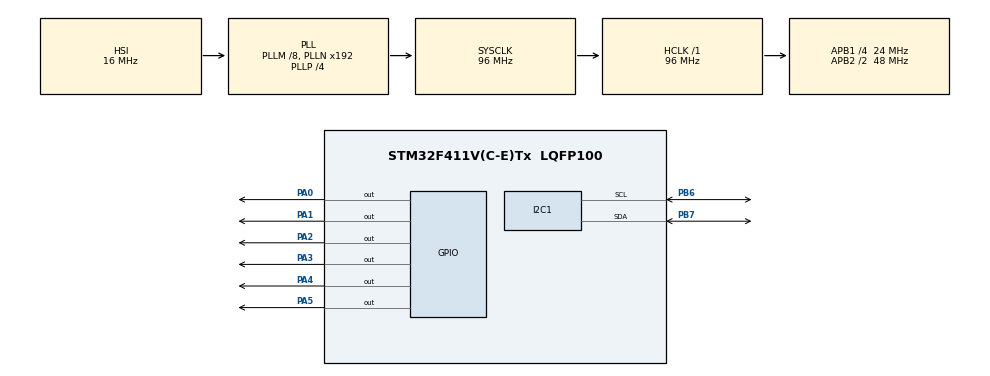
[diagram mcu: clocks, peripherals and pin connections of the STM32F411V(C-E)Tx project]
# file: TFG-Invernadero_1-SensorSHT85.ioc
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Mcu.Family=STM32F4
Mcu.Name=STM32F411V(C-E)Tx
Mcu.Package=LQFP100
NVIC.PriorityGroup=NVIC_PRIORITYGROUP_0
PA0-WKUP.GPIO_PuPd=GPIO_NOPULL
PA0-WKUP.Signal=GPIO_Output
PA1.GPIO_ModeDefaultOutputPP=GPIO_MODE_OUTPUT_PP
PA1.GPIO_PuPd=GPIO_NOPULL
PA1.PinState=GPIO_PIN_RESET
PA1.Signal=GPIO_Output
PA2.GPIO_ModeDefaultOutputPP=GPIO_MODE_OUTPUT_PP
PA2.GPIO_PuPd=GPIO_PULLUP
PA2.PinState=GPIO_PIN_SET
PA2.Signal=GPIO_Output
PA3.GPIO_ModeDefaultOutputPP=GPIO_MODE_OUTPUT_PP
PA3.GPIO_PuPd=GPIO_PULLUP
PA3.PinState=GPIO_PIN_SET
PA3.Signal=GPIO_Output
PA4.GPIO_PuPd=GPIO_PULLUP
PA4.PinState=GPIO_PIN_SET
PA4.Signal=GPIO_Output
PA5.GPIO_PuPd=GPIO_PULLUP
PA5.PinState=GPIO_PIN_SET
PA5.Signal=GPIO_Output
PB6.GPIO_Pu=GPIO_PULLUP
PB6.Mode=I2C
PB6.Signal=I2C1_SCL
PB7.GPIO_Pu=GPIO_PULLUP
PB7.Mode=I2C
PB7.Signal=I2C1_SDA
ProjectManager.HeapSize=0x200
ProjectManager.StackSize=0x400
ProjectManager.TargetToolchain=STM32CubeIDE
RCC.48MHZClocksFreq_Value=48000000
RCC.AHBFreq_Value=96000000
RCC.APB1CLKDivider=RCC_HCLK_DIV4
RCC.APB1Freq_Value=24000000
RCC.APB1TimFreq_Value=48000000
RCC.APB2CLKDivider=RCC_HCLK_DIV2
RCC.APB2Freq_Value=48000000
RCC.APB2TimFreq_Value=96000000
RCC.CortexFreq_Value=96000000
RCC.HCLKFreq_Value=96000000
RCC.HSE_VALUE=8000000
RCC.HSI_VALUE=16000000
RCC.LSE_VALUE=32768
RCC.PLLI2SM=5
RCC.PLLI2SN=200
RCC.PLLM=8
RCC.PLLP=RCC_PLLP_DIV4
RCC.PLLQ=8
RCC.SYSCLKFreq_VALUE=96000000
RCC.SYSCLKSource=RCC_SYSCLKSOURCE_PLLCLK
RCC.VCOOutputFreq_Value=384000000
board=STM32F411E-DISCO

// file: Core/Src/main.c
/* USER CODE BEGIN Header */
/**
  ******************************************************************************
  * @file           : main.c
  * @brief          : Main program body
  ******************************************************************************
  * @attention
  *
  * Copyright (c) 2025 STMicroelectronics.
  * All rights reserved.
  *
  * This software is licensed under terms that can be found in the LICENSE file
  * in the root directory of this software component.
  * If no LICENSE file comes with this software, it is provided AS-IS.
  *
  ******************************************************************************
  */
/* USER CODE END Header */
#include "main.h"

/* USER CODE BEGIN Includes */
#include <stdio.h>
#include <stdbool.h>
/* USER CODE END Includes */

/* USER CODE BEGIN PD */
// Dirección I2C del SHT85 (ver datasheet para confirmar)
#define SHT85_I2C_ADDR 0x44 << 1 // Cambia si usas otra configuración

// Comando para iniciar la medición
#define SHT85_CMD_MEASURE_HIGHREP 0x2400

// DISPLAY INICIO
#define RS_PIN  GPIO_PIN_0
#define E_PIN   GPIO_PIN_1
#define D4_PIN  GPIO_PIN_2
#define D5_PIN  GPIO_PIN_3
#define D6_PIN  GPIO_PIN_4
#define D7_PIN  GPIO_PIN_5
#define LCD_PORT GPIOA
// DISPLAY FINAL

/* USER CODE END PD */

I2C_HandleTypeDef hi2c1;

/* USER CODE BEGIN PV */

// Variables USUARIO INICIO. Para ajustar tiempos de muestreo de temperatura
uint16_t samplingPeriod = 20; // tiempo de muestreo de temperaturas (en ms)
uint16_t averagePeriod = 2; // tiempo deseado para calcular las temperaturas medias (en segundos)
bool alarmWithActualTemp = true; // TRUE: alarma se detecta mas rapido (con temp actual). FALSE: alarma se detecta mas lento (con temp media, se espera a leer varios datos)
// Variables USUARIO FIN

//Variables GLOBALES:
// SENSOR SHT85 TEMPERATURA INICIO
volatile float temperature = 0.0f;
float humidity = 0.0f;
volatile uint16_t temp_raw = 0, hum_raw = 0;
bool alarm = true; // Estado de la alarma (TRUE: apagada, FALSE: activa)
float temperature_max = 20.4;
// Variables para antirrebotes en control de alarma
uint32_t lastTimeAlarmUp = 0; // Tiempo desde que se incremento el counterTempAlarmUp
uint8_t counterTempAlarmUp = 0; // Contador de mediciones consecutivas cuando la temperatura se sale del rango
uint32_t lastTimeAlarmDown = 0; // Tiempo desde que se incremento el counterTempAlarmDown
uint8_t counterTempAlarmDown = 0; // Contador de mediciones consecutivas cuando la temperatura entra en rango de nuevo
uint8_t maxCounterTempAlarm = 5; // Máximo número de mediciones necesarias
//Variables para concurrencia entre lecturas sensor SHT85 y control de alarma
uint32_t lastTimeSHT = 0; // Tiempo de la última lectura del sensor
uint32_t lastTimeIncreasingLight = 0; // Tiempo desde que se incremento o decremento el duty en el led rojo
uint16_t duty = 1000; // Ciclo de trabajo del led rojo
bool increasingLight = true; // Control de dirección del ciclo de trabajo. TRUE incrementa luz. FALSE decrementa luz
// Calculo de temperaturas medias cada 1 segundo (5 muestras recogidas cada 200ms cada una)
volatile float totalTemperature = 0.0f;
float averageTemperature = 0.0f;
volatile uint8_t sampleCount = 0;
// SENSOR SHT85 TEMPERATURA FIN

// DISPLAY INICIO
// Variables para depuración en Live Expressions
uint8_t lastSentCommand = 0;  // Último comando enviado
uint8_t lastSentChar = 0;     // Último carácter enviado
uint8_t lastSent4Bits = 0;    // Últimos 4 bits enviados

// DISPLAY FINAL

/* USER CODE END PV */

void SystemClock_Config(void);
static void MX_GPIO_Init(void);
static void MX_I2C1_Init(void);
/* USER CODE BEGIN PFP */

// SENSOR SHT85 TEMPERATURA INICIO
void ReadSHT85(float *temperature, float *humidity);
bool setAlarm(float temp);
void calculatorAverageTemperature(float newTemperature);
// SENSOR SHT85 TEMPERATURA FIN

// DISPLAY INICIO
/*void LCD_PulseEnable(void) {
    HAL_GPIO_WritePin(LCD_PORT, E_PIN, GPIO_PIN_SET);
    HAL_Delay(1000);
    HAL_GPIO_WritePin(LCD_PORT, E_PIN, GPIO_PIN_RESET);
    HAL_Delay(1000);
}

void LCD_Send4Bits(uint8_t data) {
    lastSent4Bits = data; // Guardar valor para depuración
    HAL_GPIO_WritePin(LCD_PORT, D4_PIN, (data >> 0) & 0x01);
    HAL_GPIO_WritePin(LCD_PORT, D5_PIN, (data >> 1) & 0x01);
    HAL_GPIO_WritePin(LCD_PORT, D6_PIN, (data >> 2) & 0x01);
    HAL_GPIO_WritePin(LCD_PORT, D7_PIN, (data >> 3) & 0x01);
    LCD_PulseEnable();
}*/

void send_to_lcd(char data, int rs)
{
    HAL_GPIO_WritePin(LCD_PORT, RS_PIN, rs); // rs = 1 para datos, rs = 0 para comandos

    /* Escribir los datos en los pines respectivos */
    HAL_GPIO_WritePin(LCD_PORT, D4_PIN, (data >> 0) & 0x01);
	HAL_GPIO_WritePin(LCD_PORT, D5_PIN, (data >> 1) & 0x01);
	HAL_GPIO_WritePin(LCD_PORT, D6_PIN, (data >> 2) & 0x01);
	HAL_GPIO_WritePin(LCD_PORT, D7_PIN, (data >> 3) & 0x01);

    // Si el LCD no funciona, aumentar el retardo a 50, 80
	HAL_GPIO_WritePin(LCD_PORT, E_PIN, GPIO_PIN_SET);
	HAL_Delay(50);
	HAL_GPIO_WritePin(LCD_PORT, E_PIN, GPIO_PIN_RESET);
	HAL_Delay(50);

	lastSent4Bits = data; // Guardar valor para depuración
}

/*
void LCD_SendCommand(uint8_t cmd) {
    lastSentCommand = cmd; // Guardar último comando para depuración
    HAL_GPIO_WritePin(LCD_PORT, RS_PIN, GPIO_PIN_RESET); // RS = 0 (Comando)
    LCD_Send4Bits(cmd >> 4); // Parte alta
    LCD_Send4Bits(cmd);      // Parte baja
    HAL_Delay(20); // Esperar mínimo 39µs según datasheet
}
*/

void lcd_send_cmd(char cmd)
{
    char datatosend;

    /* Enviar primero el nibble superior */
    datatosend = ((cmd >> 4) & 0x0F);
    send_to_lcd(datatosend, 0); // RS debe estar en 0 al enviar un comando

    /* Enviar el nibble inferior */
    datatosend = (cmd & 0x0F);
    send_to_lcd(datatosend, 0);
}

void lcd_send_data(char data)
{
    char datatosend;

    /* Enviar el nibble superior */
    datatosend = ((data >> 4) & 0x0F);
    send_to_lcd(datatosend, 1); // rs = 1 para enviar datos

    /* Enviar el nibble inferior */
    datatosend = (data & 0x0F);
    send_to_lcd(datatosend, 1);
}

void lcd_clear(void)
{
    lcd_send_cmd(0x01);
    HAL_Delay(2);
}

void lcd_put_cur(int row, int col)
{
    switch (row)
    {
        case 0:
            col |= 0x80;
            break;
        case 1:
            col |= 0xC0;
            break;
    }

    lcd_send_cmd(col);
}

void lcd_init(void)
{
    // Inicialización en modo de 4 bits
    HAL_Delay(50);  // Esperar >40ms
    lcd_send_cmd(0x30);

    HAL_Delay(5);   // Esperar >4.1ms
    lcd_send_cmd(0x30);

    HAL_Delay(1);   // Esperar >100us
    lcd_send_cmd(0x30);

    HAL_Delay(10);
    lcd_send_cmd(0x20);  // Modo 4 bits
    HAL_Delay(10);

    // Inicialización de la pantalla
    lcd_send_cmd(0x28);  // Configuración de funciones: DL=0 (modo 4 bits), N=1 (pantalla de 2 líneas), F=0 (5x8 caracteres)
    HAL_Delay(1);

    lcd_send_cmd(0x08);  // Control de encendido/apagado de la pantalla: D=0, C=0, B=0 --> pantalla apagada
    HAL_Delay(1);

    lcd_send_cmd(0x01);  // Limpiar pantalla
    HAL_Delay(2);

    lcd_send_cmd(0x06);  // Modo de entrada: I/D=1 (incrementa cursor), S=0 (sin desplazamiento)
    HAL_Delay(2);

    lcd_send_cmd(0x0C);  // Control de encendido/apagado: D=1 (pantalla encendida), C=0, B=0 (sin cursor ni parpadeo)
}

void lcd_send_string(char *str)
{
    while (*str)
        lcd_send_data(*str++);
}

/*

void LCD_SendChar(char c) {
    lastSentChar = c; // Guardar el carácter enviado para depuración

    uint8_t highNibble = (c >> 4) & 0x0F;  // Extraer parte alta (4 bits)
    uint8_t lowNibble = c & 0x0F;         // Extraer parte baja (4 bits)

    HAL_GPIO_WritePin(LCD_PORT, RS_PIN, GPIO_PIN_SET); // RS = 1 (Dato)

    lastSent4Bits = highNibble; // Guardar parte alta para depuración
    HAL_Delay(1000); // Mantener el valor visible más tiempo
    LCD_Send4Bits(highNibble); // Enviar parte alta al LCD
    HAL_Delay(1000); // Mantener la pausa

    lastSent4Bits = lowNibble; // Guardar parte baja para depuración
    HAL_Delay(1000); // Mantener el valor visible más tiempo
    LCD_Send4Bits(lowNibble); // Enviar parte baja al LCD
    HAL_Delay(1000); // Mantener la pausa
}

void LCD_SendString(char *str) {
    while (*str) {
        LCD_SendChar(*str++);
    }
}

void LCD_Init(void) {
    HAL_Delay(50); // 🔴 Esperar más de 40 ms tras encendido (datasheet)

    // 🔵 Secuencia para forzar modo 8 bits
    LCD_Send4Bits(0x03);
    HAL_Delay(50);
    LCD_Send4Bits(0x03);
    HAL_Delay(10);
    LCD_Send4Bits(0x03);
    HAL_Delay(10);

    // 🔵 Cambiar a modo 4 bits
    LCD_Send4Bits(0x02);
    HAL_Delay(10);

    // 🔵 Configuración inicial
    LCD_SendCommand(0x28); // Modo 4 bits, 2 líneas, 5x8 caracteres
    HAL_Delay(10);
    LCD_SendCommand(0x0C); // Display ON, Cursor OFF
    HAL_Delay(10);
    LCD_SendCommand(0x01); // Limpiar pantalla
	HAL_Delay(20); // 🔴 Esperar 1.53 ms según datasheet
    LCD_SendCommand(0x06); // Incremento de cursor
    HAL_Delay(10);

    LCD_SendCommand(0x0E); // Display ON, Cursor ON (verifica si algo aparece)
    HAL_Delay(10);
}
 */

// DISPLAY FINAL

/* USER CODE END PFP */

/* USER CODE BEGIN 0 */

int row = 0;
int col = 0;

/* USER CODE END 0 */

int main(void)
{

  /* MCU Configuration--------------------------------------------------------*/

  /* Reset of all peripherals, Initializes the Flash interface and the Systick. */
  HAL_Init();

  /* Configure the system clock */
  SystemClock_Config();

  /* Initialize all configured peripherals */
  MX_GPIO_Init();
  MX_I2C1_Init();
  /* USER CODE BEGIN 2 */

  // SENSOR SHT85 TEMPERATURA INICIO
//  	HAL_GPIO_WritePin(GPIOA, GPIO_PIN_3, GPIO_PIN_SET); // Apagar ventilador
//  	HAL_GPIO_WritePin(GPIOA, GPIO_PIN_2, GPIO_PIN_SET); // Set Apaga el led verde del RGB
//
//  	// Inicia el PWM en el canal 2 (PA1 - LED Rojo)
//  	//HAL_TIM_PWM_Start(&htim2, TIM_CHANNEL_2);
//  	__HAL_TIM_SET_COMPARE(&htim2, TIM_CHANNEL_2, 1000); // Configura el ciclo de trabajo a 1000 (Rojo apagado)

  	lastTimeSHT = HAL_GetTick();
  	lastTimeIncreasingLight = HAL_GetTick();
  	//tiempo_inicio_led_rojo = HAL_GetTick();

  	// SENSOR SHT85 TEMPERATURA FIN

  	// DISPLAY INICIO

    //LCD_Init();
    //LCD_SendString("Hola, STM32!");

    lcd_init();
    lcd_put_cur(0, 0);
    lcd_send_string("HELLO ");
    lcd_send_string("WORLD ");
    lcd_send_string("FROM");

    lcd_put_cur(1, 0);
    lcd_send_string("CONTROLLERS TECH");
    HAL_Delay(3000);
    lcd_clear();

  	// DISPLAY FINAL

  /* USER CODE END 2 */

  /* Infinite loop */
  /* USER CODE BEGIN WHILE */
  while (1)
  {
	  // SENSOR SHT85 TEMPERATURA INICIO

	  		// Ajuste del valor de temperatura para encender el ventilador

	  		  //HAL_ADC_Start(&hadc1);

	  		  // Esperar a que la conversión finalice
//	  		  if (HAL_ADC_PollForConversion(&hadc1, HAL_MAX_DELAY) == HAL_OK) {
//	  			  // Leer el valor ADC convertido
//	  			  adcValue = HAL_ADC_GetValue(&hadc1);
//	  			  temperature_max = 15.0 + (adcValue/4095.0)*15.0; // Obtiene un valor entre 15 y 30 grados centigrados
//	  		  }
	  		  // Detener la conversión
//	  		  HAL_ADC_Stop(&hadc1);

	  		// Control de ventilador y leds

	  /*
	  		if (HAL_GetTick() - lastTimeSHT >= samplingPeriod) { // Leer los sensores cada 200 ms (periodo de muestreo)
	  			lastTimeSHT = HAL_GetTick(); // Se actualiza referencia
	  			ReadSHT85(&temperature, &humidity); // Leer sensores
	  			calculatorAverageTemperature(temperature); // Se calculan temperaturas medias
	  			float temperatureToCheck =
	  					alarmWithActualTemp ? temperature : averageTemperature;
	  			alarm = setAlarm(temperatureToCheck); // Verificar alarma. Si se quiere controlar la alarma con la temperatura media. Se activa más tarde
	  		}

	  		if (!alarm) { // La alarma se activa pq se supera temperatura maxima
	  					  // Incrementa gradualmente la intensidad del led rojo del RGB
	  			if (HAL_GetTick() - lastTimeIncreasingLight >= 20) {
	  				lastTimeIncreasingLight = HAL_GetTick();

	  				if (increasingLight) {
	  					duty -= 50; // Decrementar el ciclo de trabajo (lógica inversa)
	  					if (duty <= 0) {
	  						duty = 0;
	  						// Insertar bocina, aqui llega al pico maximo de luz
	  						increasingLight = false; // Cambiar dirección
	  					}
	  				} else {
	  					duty += 50; // Incrementar el ciclo de trabajo
	  					if (duty >= 1000) {
	  						duty = 1000;
	  						increasingLight = true; // Cambiar dirección
	  					}
	  				}
*/
	  				//__HAL_TIM_SET_COMPARE(&htim2, TIM_CHANNEL_2, duty); // Ajusta el ciclo de trabajo del led rojo
	  			//}
	  		//	HAL_GPIO_WritePin(GPIOD, GPIO_PIN_13, GPIO_PIN_SET); // Encender led
//	  			HAL_GPIO_WritePin(GPIOA, GPIO_PIN_3, GPIO_PIN_RESET); // Encender VENTILADOR
//	  			HAL_GPIO_WritePin(GPIOA, GPIO_PIN_2, GPIO_PIN_SET); // Verde apagado

/*	  		} else {
	  			HAL_GPIO_WritePin(GPIOD, GPIO_PIN_13, GPIO_PIN_RESET); // Apagar led
//	  			HAL_GPIO_WritePin(GPIOA, GPIO_PIN_3, GPIO_PIN_SET); // Apagar VENTILADOR
//	  			__HAL_TIM_SET_COMPARE(&htim2, TIM_CHANNEL_2, 0); // AMARILLO (ROJO + VERDE)
//	  			HAL_GPIO_WritePin(GPIOA, GPIO_PIN_2, GPIO_PIN_RESET); // AMARILLO (ROJO + VERDE)
	  		}
	  		// SENSOR SHT85 TEMPERATURA FIN
*/

	  		// DISPLAY INICIO

	  for (int i = 0; i < 128; i++)
	  {
	      lcd_put_cur(row, col);
	      lcd_send_data(i + 48);

	      col++;

	      if (col > 15) { row++; col = 0; }
	      if (row > 1) row = 0;

	      HAL_Delay(250);
	  }

	  		// DISPLAY FINAL

    /* USER CODE END WHILE */

  }
}

void SystemClock_Config(void)
{
  RCC_OscInitTypeDef RCC_OscInitStruct = {0};
  RCC_ClkInitTypeDef RCC_ClkInitStruct = {0};

  /** Configure the main internal regulator output voltage
  */
  __HAL_RCC_PWR_CLK_ENABLE();
  __HAL_PWR_VOLTAGESCALING_CONFIG(PWR_REGULATOR_VOLTAGE_SCALE1);

  /** Initializes the RCC Oscillators according to the specified parameters
  * in the RCC_OscInitTypeDef structure.
  */
  RCC_OscInitStruct.OscillatorType = RCC_OSCILLATORTYPE_HSI;
  RCC_OscInitStruct.HSIState = RCC_HSI_ON;
  RCC_OscInitStruct.HSICalibrationValue = RCC_HSICALIBRATION_DEFAULT;
  RCC_OscInitStruct.PLL.PLLState = RCC_PLL_ON;
  RCC_OscInitStruct.PLL.PLLSource = RCC_PLLSOURCE_HSI;
  RCC_OscInitStruct.PLL.PLLM = 8;
  RCC_OscInitStruct.PLL.PLLN = 192;
  RCC_OscInitStruct.PLL.PLLP = RCC_PLLP_DIV4;
  RCC_OscInitStruct.PLL.PLLQ = 8;
  if (HAL_RCC_OscConfig(&RCC_OscInitStruct) != HAL_OK)
  {
    Error_Handler();
  }

  /** Initializes the CPU, AHB and APB buses clocks
  */
  RCC_ClkInitStruct.ClockType = RCC_CLOCKTYPE_HCLK|RCC_CLOCKTYPE_SYSCLK
                              |RCC_CLOCKTYPE_PCLK1|RCC_CLOCKTYPE_PCLK2;
  RCC_ClkInitStruct.SYSCLKSource = RCC_SYSCLKSOURCE_PLLCLK;
  RCC_ClkInitStruct.AHBCLKDivider = RCC_SYSCLK_DIV1;
  RCC_ClkInitStruct.APB1CLKDivider = RCC_HCLK_DIV4;
  RCC_ClkInitStruct.APB2CLKDivider = RCC_HCLK_DIV2;

  if (HAL_RCC_ClockConfig(&RCC_ClkInitStruct, FLASH_LATENCY_3) != HAL_OK)
  {
    Error_Handler();
  }
}

static void MX_I2C1_Init(void)
{

  hi2c1.Instance = I2C1;
  hi2c1.Init.ClockSpeed = 100000;
  hi2c1.Init.DutyCycle = I2C_DUTYCYCLE_2;
  hi2c1.Init.OwnAddress1 = 0;
  hi2c1.Init.AddressingMode = I2C_ADDRESSINGMODE_7BIT;
  hi2c1.Init.DualAddressMode = I2C_DUALADDRESS_DISABLE;
  hi2c1.Init.OwnAddress2 = 0;
  hi2c1.Init.GeneralCallMode = I2C_GENERALCALL_DISABLE;
  hi2c1.Init.NoStretchMode = I2C_NOSTRETCH_DISABLE;
  if (HAL_I2C_Init(&hi2c1) != HAL_OK)
  {
    Error_Handler();
  }

}

static void MX_GPIO_Init(void)
{
  GPIO_InitTypeDef GPIO_InitStruct = {0};

  /* GPIO Ports Clock Enable */
  __HAL_RCC_GPIOA_CLK_ENABLE();
  __HAL_RCC_GPIOB_CLK_ENABLE();

  /*Configure GPIO pin Output Level */
  HAL_GPIO_WritePin(GPIOA, GPIO_PIN_0|GPIO_PIN_1, GPIO_PIN_RESET);

  /*Configure GPIO pin Output Level */
  HAL_GPIO_WritePin(GPIOA, GPIO_PIN_2|GPIO_PIN_3|GPIO_PIN_4|GPIO_PIN_5, GPIO_PIN_SET);

  /*Configure GPIO pins : PA0 PA1 */
  GPIO_InitStruct.Pin = GPIO_PIN_0|GPIO_PIN_1;
  GPIO_InitStruct.Mode = GPIO_MODE_OUTPUT_PP;
  GPIO_InitStruct.Pull = GPIO_NOPULL;
  GPIO_InitStruct.Speed = GPIO_SPEED_FREQ_LOW;
  HAL_GPIO_Init(GPIOA, &GPIO_InitStruct);

  /*Configure GPIO pins : PA2 PA3 PA4 PA5 */
  GPIO_InitStruct.Pin = GPIO_PIN_2|GPIO_PIN_3|GPIO_PIN_4|GPIO_PIN_5;
  GPIO_InitStruct.Mode = GPIO_MODE_OUTPUT_PP;
  GPIO_InitStruct.Pull = GPIO_PULLUP;
  GPIO_InitStruct.Speed = GPIO_SPEED_FREQ_LOW;
  HAL_GPIO_Init(GPIOA, &GPIO_InitStruct);

}

/* USER CODE BEGIN 4 */

// SENSOR SHT85 TEMPERATURA INICIO
void ReadSHT85(float *temperature, float *humidity) {
	uint8_t cmd[2] = {
	SHT85_CMD_MEASURE_HIGHREP >> 8, SHT85_CMD_MEASURE_HIGHREP & 0xFF };
	uint8_t data[6];

	// Enviar el comando para iniciar la medición
	HAL_I2C_Master_Transmit(&hi2c1, SHT85_I2C_ADDR, cmd, 2, HAL_MAX_DELAY);

	// Esperar unos 10 ms para completar la medición
	HAL_Delay(20);

	// Leer los 6 bytes de datos
	HAL_I2C_Master_Receive(&hi2c1, SHT85_I2C_ADDR, data, 6, HAL_MAX_DELAY);

	// Convertir los datos recibidos
	temp_raw = (data[0] << 8) | data[1];
	hum_raw = (data[3] << 8) | data[4];

	// Calcular temperatura y humedad (según el datasheet del SHT85)
	*temperature = -45 + 175 * ((float) temp_raw / 65535);
	*humidity = 100 * ((float) hum_raw / 65535);
}

bool setAlarm(float temp) {		// TRUE apagado. FALSE alarma encendida
	static bool alarmState = true; // Estado de la alarma (true: apagada, false: activa)
	uint32_t alarmPeriod =
			alarmWithActualTemp ? samplingPeriod : (averagePeriod * 1000);

	if (temp > temperature_max) {
		counterTempAlarmDown = 0; // Si la temperatura se sale de rango, reiniciar el contador para cuando entra en el rango

		if (HAL_GetTick() - lastTimeAlarmUp >= alarmPeriod) { //si se quiere controlar la alarma con la temperatura acutal o media
			lastTimeAlarmUp = HAL_GetTick(); // Se actualiza el tiempo de referencia
			if (temp <= temperature_max) {
				counterTempAlarmUp = 0;
			} //Si entra dentro de rango: "falsa" medicion
			else {
				counterTempAlarmUp++;
			}	// Lectura correcta: fuera de rango

			if (counterTempAlarmUp >= maxCounterTempAlarm) { //Se da por buena la lectura: FUERA DE RANGO VERIFICADO
				counterTempAlarmUp = maxCounterTempAlarm;
				alarmState = false; // Alarma activada (fuera de rango confirmado)
			}
		}
	} else {
		counterTempAlarmUp = 0; // Si la temperatura vuelve al rango normal, reiniciar el contador para cuando se sale de rango
		// Debouncer
		if (HAL_GetTick() - lastTimeAlarmDown >= alarmPeriod) { //si se quiere controlar la alarma con la temperatura actual o media
			lastTimeAlarmDown = HAL_GetTick(); // Se actualiza el tiempo de referencia
			if (temp > temperature_max) {
				counterTempAlarmDown = 0;
			} //Si sale fuera de rango: "falsa" medicion
			else {
				counterTempAlarmDown++;
			}	// Lectura correcta: dentro de rango

			if (counterTempAlarmDown >= maxCounterTempAlarm) { //Se da por buena la lectura: DENTRO DE RANGO VERIFICADO
				counterTempAlarmDown = maxCounterTempAlarm; // Limitar el contador
				alarmState = true; // TRUE: alarma se apaga
			}
		}
	}
	return alarmState;
}

void calculatorAverageTemperature(float newTemperature) {
	totalTemperature += newTemperature;
	sampleCount++;

	if (sampleCount >= averagePeriod * 1000 / samplingPeriod) { // Se leen por ejemplo 25 muestras (durante 5 segundos. 200ms de tiempo de muestreo)
		averageTemperature = totalTemperature / (averagePeriod * 1000 / samplingPeriod);
		totalTemperature = 0.0f; // Reinicia acumulador
		sampleCount = 0;
	}
}

// SENSOR SHT85 TEMPERATURA FIN

/* USER CODE END 4 */

void Error_Handler(void)
{
  __disable_irq();
  while (1)
  {
  }
}
